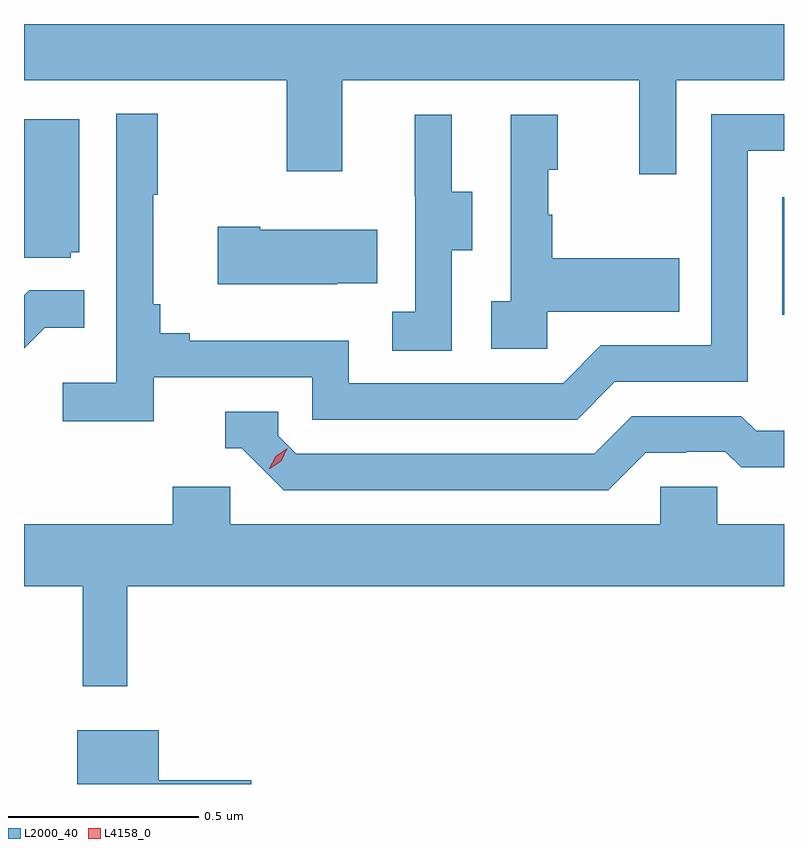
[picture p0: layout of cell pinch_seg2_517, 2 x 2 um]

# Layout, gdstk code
import gdstk
lib = gdstk.Library(unit=1e-6, precision=1e-09)
def R(c, l, rs):  # rectangles x0, y0, x1, y1
    for r in rs: c.add(gdstk.rectangle(r[:2], r[2:], *l))
def P(c, l, *ps):  # polygons
    for p in ps: c.add(gdstk.Polygon(p, *l))
L2000_40 = (2000, 40)
L4158_0 = (4158, 0)

pinch_seg2_517 = lib.new_cell('pinch_seg2_517')
R(pinch_seg2_517, L2000_40, [(986.754,595.071,986.759,595.38)])
P(pinch_seg2_517, L2000_40, [(986.475,595.688),(986.759,595.688),(986.759,595.836),(984.759,595.836),(984.759,595.688),(985.45,595.688),(985.45,595.449),(985.597,595.449),(985.597,595.688),(986.378,595.688),(986.378,595.44),(986.475,595.44)],
  [(985.1,594.906),(985.518,594.906),(985.518,594.795),(986.215,594.795),(986.314,594.894),(986.664,594.894),(986.664,595.503),(986.759,595.503),(986.759,595.599),(986.568,595.599),(986.568,594.99),(986.277,594.99),(986.178,594.891),(985.614,594.891),(985.614,595.003),(985.195,595.003),(985.195,595.022),(985.118,595.022),(985.118,595.099),(985.099,595.099),(985.099,595.387),(985.111,595.387),(985.111,595.6),(985.002,595.6),(985.002,594.892),(984.861,594.892),(984.861,594.79),(985.1,594.79)],
  [(986.136,595.079),(986.483,595.079),(986.483,595.219),(986.149,595.219),(986.149,595.334),(986.139,595.334),(986.139,595.452),(986.164,595.452),(986.164,595.597),(986.04,595.597),(986.04,595.106),(985.989,595.106),(985.989,594.981),(986.136,594.981)],
  [(985.884,595.24),(985.939,595.24),(985.939,595.395),(985.885,595.395),(985.885,595.597),(985.787,595.597),(985.787,595.383),(985.788,595.383),(985.788,595.079),(985.728,595.079),(985.728,594.976),(985.884,594.976)],
  [(984.882,595.236),(984.904,595.236),(984.904,595.585),(984.759,595.585),(984.759,595.221),(984.882,595.221)],
  [(985.583,595.154),(985.688,595.154),(985.688,595.294),(985.381,595.294),(985.381,595.302),(985.269,595.302),(985.269,595.151),(985.583,595.151)],
  [(984.813,595.037),(984.917,595.037),(984.917,595.136),(984.773,595.136),(984.759,595.122),(984.759,594.983)],
  [(986.395,594.708),(986.502,594.708),(986.502,594.711),(986.605,594.711),(986.647,594.669),(986.759,594.669),(986.759,594.765),(986.686,594.765),(986.647,594.804),(986.358,594.804),(986.259,594.705),(985.476,594.705),(985.428,594.753),(985.428,594.816),(985.289,594.816),(985.289,594.72),(985.332,594.72),(985.443,594.609),(986.296,594.609)],
  [(985.031,594.356),(986.759,594.356),(986.759,594.52),(986.583,594.52),(986.583,594.618),(986.433,594.618),(986.433,594.52),(985.302,594.52),(985.302,594.618),(985.151,594.618),(985.151,594.52),(984.759,594.52),(984.759,594.356),(984.914,594.356),(984.914,594.093),(985.031,594.093)],
  [(985.357,593.846),(985.114,593.846),(985.114,593.977),(984.899,593.977),(984.899,593.836),(985.357,593.836)])
P(pinch_seg2_517, L4158_0, [(985.405,594.666),(985.405,594.667),(985.421,594.699),(985.452,594.719),(985.452,594.719),(985.452,594.719),(985.436,594.686),(985.406,594.666)])

lib.write_gds('pinch_seg2_517.gds')
